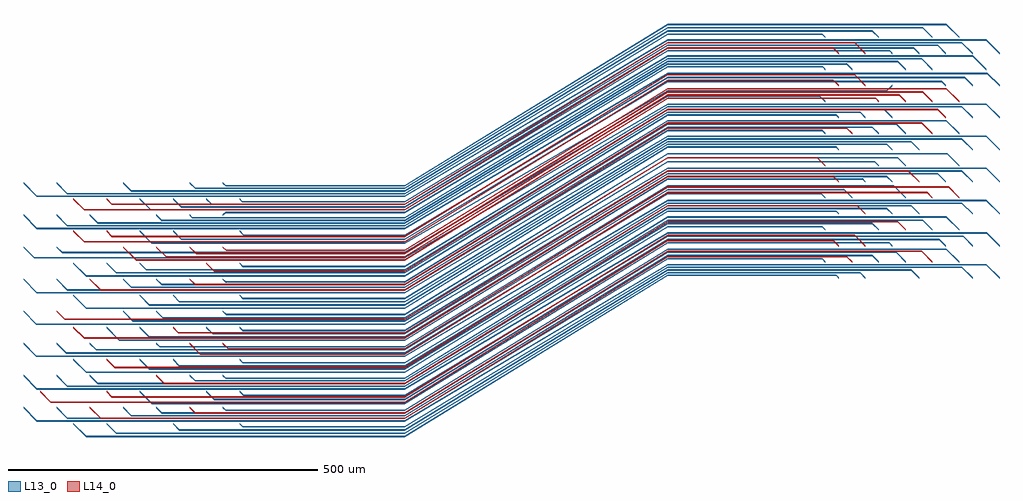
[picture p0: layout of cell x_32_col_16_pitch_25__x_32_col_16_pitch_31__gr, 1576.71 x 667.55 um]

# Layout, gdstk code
import gdstk
lib = gdstk.Library(unit=1e-6, precision=1e-09)
def R(c, l, rs):  # rectangles x0, y0, x1, y1
    for r in rs: c.add(gdstk.rectangle(r[:2], r[2:], *l))
def A(c, l, x, y, w, h, nx, ny, dx, dy):  # array of equal rectangles
    R(c, l, [(x+i*dx, y+j*dy, x+i*dx+w, y+j*dy+h) for i in range(nx) for j in range(ny)])
def P(c, l, *ps):  # polygons
    for p in ps: c.add(gdstk.Polygon(p, *l))
L13_0 = (13, 0)
L14_0 = (14, 0)

x_32_col_16_pitch_25__x_ = lib.new_cell('x_32_col_16_pitch_25__x_32_col_16_pitch_31__gr')
A(x_32_col_16_pitch_25__x_, L13_0, 1360.153, 1466.224, 514.847, 2, 1, 3, 0, 103.68)
A(x_32_col_16_pitch_25__x_, L13_0, 1510.865, 1476.592, 364.135, 2, 1, 3, 0, 103.68)
A(x_32_col_16_pitch_25__x_, L13_0, 1462.352, 1575.088, 412.648, 2, 1, 3, 0, 51.84)
A(x_32_col_16_pitch_25__x_, L13_0, 1613.064, 1585.456, 261.936, 2, 1, 4, 0, 51.84)
A(x_32_col_16_pitch_25__x_, L13_0, 2300, 1726.56, 271.46, 2, 1, 3, 0, 103.68)
A(x_32_col_16_pitch_25__x_, L13_0, 2300, 1735.2, 392.72, 2, 1, 3, 0, 103.68)
A(x_32_col_16_pitch_25__x_, L13_0, 2300, 1805.184, 248.946, 2, 1, 3, 0, 155.52)
A(x_32_col_16_pitch_25__x_, L13_0, 2300, 1810.368, 330.362, 2, 1, 3, 0, 155.52)
A(x_32_col_16_pitch_25__x_, L13_0, 2300, 1820.736, 449.894, 2, 1, 3, 0, 155.52)
A(x_32_col_16_pitch_25__x_, L13_0, 2300, 1834.56, 353.74, 2, 1, 3, 0, 51.84)
A(x_32_col_16_pitch_25__x_, L13_0, 2300, 1843.2, 475, 2, 1, 4, 0, 51.84)
A(x_32_col_16_pitch_25__x_, L13_0, 2300, 1847.52, 513.982, 2, 1, 4, 0, 51.84)
R(x_32_col_16_pitch_25__x_, L13_0, [(1408.662,1471.408,1875,1473.408), (1613.064,1481.776,1875,1483.776), (1280.472,1491.28,1875,1493.28), (1329.85,1495.6,1875,1497.6), (1432.917,1499.92,1875,1501.92), (1482.29,1504.24,1875,1506.24), (1585.36,1508.56,1875,1510.56), (1466.24,1519.36,1875,1521.36), (1567.15,1525.84,1875,1527.84), (1614.36,1532.32,1875,1534.32), (1280.472,1543.12,1875,1545.12), (1329.85,1547.44,1875,1549.44), (1379.22,1551.76,1875,1553.76), (1535.98,1556.08,1875,1558.08), (1585.36,1560.4,1875,1562.4), (1279.608,1595.824,1875,1597.824), (1328.122,1601.008,1875,1603.008), (1376.628,1606.192,1875,1608.192), (1478.834,1611.376,1875,1613.376), (1413.846,1621.744,1875,1623.744), (1564.558,1632.112,1875,1634.112), (1279.608,1647.664,1875,1649.664), (1435.509,1652.848,1875,1654.848), (1484.018,1658.032,1875,1660.032), (1586.224,1663.216,1875,1665.216), (1280.472,1698.64,1875,1700.64), (1329.85,1702.96,1875,1704.96), (1432.917,1707.28,1875,1709.28), (1482.29,1711.6,1875,1713.6), (1585.36,1715.92,1875,1717.92), (1360.153,1725.424,1875,1727.424), (1408.662,1730.608,1875,1732.608), (2300,1730.88,2610.44,1732.88), (1457.168,1735.792,1875,1737.792), (2300,1739.52,2775,1741.52), (2300,1743.84,2813.982,1745.84), (2300,1753.344,2548.946,1755.344), (1276.152,1754.8,1875,1756.8), (2300,1758.528,2630.362,1760.528), (1321.21,1763.44,1875,1765.44), (2300,1763.712,2668.478,1765.712), (2300,1768.896,2749.894,1770.896), (1466.24,1778.56,1875,1780.56), (2300,1779.264,2657.196,1781.264), (2300,1784.448,2738.612,1786.448), (1513.457,1785.04,1875,1787.04), (2300,1789.632,2776.728,1791.632), (1614.36,1791.52,1875,1793.52), (2300,1794.816,2814.846,1796.816), (1280.472,1802.32,1875,1804.32), (1329.85,1806.64,1875,1808.64), (1379.22,1810.96,1875,1812.96), (1482.29,1815.28,1875,1817.28), (2300,1815.552,2711.778,1817.552), (1531.66,1819.6,1875,1821.6), (1585.36,1828.24,1875,1830.24), (1464.08,1832.56,1875,1834.56), (1513.457,1836.88,1875,1838.88), (1562.83,1841.2,1875,1843.2), (1612.2,1845.52,1875,1847.52), (1280.472,1854.16,1875,1856.16), (2300,1858.32,2547.65,1860.32), (1329.85,1858.48,1875,1860.48), (1432.917,1862.8,1875,1864.8), (2300,1864.8,2584.47,1866.8), (1535.98,1867.12,1875,1869.12), (2300,1871.28,2664.59,1873.28), (1585.36,1871.44,1875,1873.44), (2300,1882.08,2614.76,1884.08), (2300,1890.72,2736.02,1892.72), (2300,1910.16,2634.25,1912.16), (2300,1916.64,2671.07,1918.64), (2300,1923.12,2751.19,1925.12), (2300,1971.072,2668.478,1973.072), (2300,1985.76,2571.46,1987.76), (2300,1990.08,2610.44,1992.08), (2300,1994.4,2649.42,1996.4), (2300,2016,2545.49,2018), (2300,2024.64,2653.74,2026.64), (2300,2039.76,2742.5,2041.76), (2300,2046.24,2779.32,2048.24), (2300,2052.72,2816.142,2054.72), (2300,2063.52,2549.81,2065.52), (2300,2067.84,2588.79,2069.84), (2300,2072.16,2671.07,2074.16), (2300,2076.48,2710.05,2078.48), (2300,2080.8,2792.332,2082.8), (2300,2089.44,2658.06,2091.44), (2300,2093.76,2697.04,2095.76), (2300,2098.08,2736.02,2100.08), (2300,2102.4,2775,2104.4), (2300,2106.72,2813.982,2108.72), (2300,2126.592,2711.778,2128.592)])
P(x_32_col_16_pitch_25__x_, L13_0, [(2554.13,2111.04),(2554.13,2113.04),(2548.946,2118.224),(2548.946,2116.224)],
  [(2300,2116.224),(2300,2118.224),(1875,1860.48),(1875,1858.48)],
  [(1329.85,1858.48),(1329.85,1860.48),(1312.57,1877.76),(1312.57,1875.76)],
  [(2640.73,2111.04),(2640.73,2113.04),(2630.362,2123.408),(2630.362,2121.408)],
  [(2300,2121.408),(2300,2123.408),(1875,1864.8),(1875,1862.8)],
  [(1432.917,1862.8),(1432.917,1864.8),(1419.957,1877.76),(1419.957,1875.76)],
  [(2727.33,2111.04),(2727.33,2113.04),(2711.778,2128.592),(2711.778,2126.592)],
  [(2300,2126.592),(2300,2128.592),(1875,1869.12),(1875,1867.12)],
  [(1535.98,1867.12),(1535.98,1869.12),(1527.34,1877.76),(1527.34,1875.76)],
  [(2770.63,2111.04),(2770.63,2113.04),(2749.894,2133.776),(2749.894,2131.776)],
  [(2300,2131.776),(2300,2133.776),(1875,1873.44),(1875,1871.44)],
  [(1585.36,1871.44),(1585.36,1873.44),(1581.04,1877.76),(1581.04,1875.76)],
  [(2662.38,2085.12),(2662.38,2087.12),(2658.06,2091.44),(2658.06,2089.44)],
  [(2300,2089.44),(2300,2091.44),(1875,1834.56),(1875,1832.56)],
  [(1464.08,1832.56),(1464.08,1834.56),(1446.8,1851.84),(1446.8,1849.84)],
  [(2705.68,2085.12),(2705.68,2087.12),(2697.04,2095.76),(2697.04,2093.76)],
  [(2300,2093.76),(2300,2095.76),(1875,1838.88),(1875,1836.88)],
  [(1513.457,1836.88),(1513.457,1838.88),(1500.497,1851.84),(1500.497,1849.84)],
  [(2748.98,2085.12),(2748.98,2087.12),(2736.02,2100.08),(2736.02,2098.08)],
  [(2300,2098.08),(2300,2100.08),(1875,1843.2),(1875,1841.2)],
  [(1562.83,1841.2),(1562.83,1843.2),(1554.19,1851.84),(1554.19,1849.84)],
  [(2792.28,2085.12),(2792.28,2087.12),(2775,2104.4),(2775,2102.4)],
  [(2300,2102.4),(2300,2104.4),(1875,1847.52),(1875,1845.52)],
  [(1612.2,1845.52),(1612.2,1847.52),(1607.88,1851.84),(1607.88,1849.84)],
  [(2835.582,2085.12),(2835.582,2087.12),(2813.982,2108.72),(2813.982,2106.72)],
  [(2300,2106.72),(2300,2108.72),(1875,1856.16),(1875,1854.16)],
  [(1280.472,1854.16),(1280.472,1856.16),(1258.872,1877.76),(1258.872,1875.76)],
  [(2554.13,2059.2),(2554.13,2061.2),(2549.81,2065.52),(2549.81,2063.52)],
  [(2300,2063.52),(2300,2065.52),(1875,1808.64),(1875,1806.64)],
  [(1329.85,1806.64),(1329.85,1808.64),(1312.57,1825.92),(1312.57,1823.92)],
  [(2597.43,2059.2),(2597.43,2061.2),(2588.79,2069.84),(2588.79,2067.84)],
  [(2300,2067.84),(2300,2069.84),(1875,1812.96),(1875,1810.96)],
  [(1379.22,1810.96),(1379.22,1812.96),(1366.26,1825.92),(1366.26,1823.92)],
  [(2684.03,2059.2),(2684.03,2061.2),(2671.07,2074.16),(2671.07,2072.16)],
  [(2300,2072.16),(2300,2074.16),(1875,1817.28),(1875,1815.28)],
  [(1482.29,1815.28),(1482.29,1817.28),(1473.65,1825.92),(1473.65,1823.92)],
  [(2727.33,2059.2),(2727.33,2061.2),(2710.05,2078.48),(2710.05,2076.48)],
  [(2300,2076.48),(2300,2078.48),(1875,1821.6),(1875,1819.6)],
  [(1531.66,1819.6),(1531.66,1821.6),(1527.34,1825.92),(1527.34,1823.92)],
  [(2813.932,2059.2),(2813.932,2061.2),(2792.332,2082.8),(2792.332,2080.8)],
  [(2300,2080.8),(2300,2082.8),(1875,1830.24),(1875,1828.24)],
  [(1585.36,1828.24),(1585.36,1830.24),(1581.04,1825.92),(1581.04,1823.92)],
  [(2662.38,2033.28),(2662.38,2035.28),(2653.74,2026.64),(2653.74,2024.64)],
  [(2300,2024.64),(2300,2026.64),(1875,1780.56),(1875,1778.56)],
  [(1466.24,1778.56),(1466.24,1780.56),(1446.8,1800),(1446.8,1798)],
  [(2748.98,2033.28),(2748.98,2035.28),(2742.5,2041.76),(2742.5,2039.76)],
  [(2300,2039.76),(2300,2041.76),(1875,1787.04),(1875,1785.04)],
  [(1513.457,1785.04),(1513.457,1787.04),(1500.497,1800),(1500.497,1798)],
  [(2792.28,2033.28),(2792.28,2035.28),(2779.32,2048.24),(2779.32,2046.24)],
  [(2300,2046.24),(2300,2048.24),(1875,1793.52),(1875,1791.52)],
  [(1614.36,1791.52),(1614.36,1793.52),(1607.88,1800),(1607.88,1798)],
  [(2835.582,2033.28),(2835.582,2035.28),(2816.142,2054.72),(2816.142,2052.72)],
  [(2300,2052.72),(2300,2054.72),(1875,1804.32),(1875,1802.32)],
  [(1280.472,1802.32),(1280.472,1804.32),(1258.872,1825.92),(1258.872,1823.92)],
  [(2554.13,2007.36),(2554.13,2009.36),(2545.49,2018),(2545.49,2016)],
  [(2300,2016),(2300,2018),(1875,1765.44),(1875,1763.44)],
  [(1321.21,1763.44),(1321.21,1765.44),(1312.57,1774.08),(1312.57,1772.08)],
  [(2575.78,1981.44),(2575.78,1983.44),(2571.46,1987.76),(2571.46,1985.76)],
  [(2300,1985.76),(2300,1987.76),(1875,1727.424),(1875,1725.424)],
  [(1360.153,1725.424),(1360.153,1727.424),(1339.417,1748.16),(1339.417,1746.16)],
  [(2619.08,1981.44),(2619.08,1983.44),(2610.44,1992.08),(2610.44,1990.08)],
  [(2300,1990.08),(2300,1992.08),(1875,1732.608),(1875,1730.608)],
  [(1408.662,1730.608),(1408.662,1732.608),(1393.11,1748.16),(1393.11,1746.16)],
  [(2662.38,1981.44),(2662.38,1983.44),(2649.42,1996.4),(2649.42,1994.4)],
  [(2300,1994.4),(2300,1996.4),(1875,1737.792),(1875,1735.792)],
  [(1457.168,1735.792),(1457.168,1737.792),(1446.8,1748.16),(1446.8,1746.16)],
  [(2792.28,1981.44),(2792.28,1983.44),(2775,2000.72),(2775,1998.72)],
  [(2300,1998.72),(2300,2000.72),(1875,1742.976),(1875,1740.976)],
  [(1613.064,1740.976),(1613.064,1742.976),(1607.88,1748.16),(1607.88,1746.16)],
  [(2835.582,1981.44),(2835.582,1983.44),(2813.982,2005.04),(2813.982,2003.04)],
  [(2300,2003.04),(2300,2005.04),(1875,1756.8),(1875,1754.8)],
  [(1276.152,1754.8),(1276.152,1756.8),(1258.872,1774.08),(1258.872,1772.08)],
  [(2554.13,1955.52),(2554.13,1957.52),(2548.946,1962.704),(2548.946,1960.704)],
  [(2300,1960.704),(2300,1962.704),(1875,1704.96),(1875,1702.96)],
  [(1329.85,1702.96),(1329.85,1704.96),(1312.57,1722.24),(1312.57,1720.24)],
  [(2640.73,1955.52),(2640.73,1957.52),(2630.362,1967.888),(2630.362,1965.888)],
  [(2300,1965.888),(2300,1967.888),(1875,1709.28),(1875,1707.28)],
  [(1432.917,1707.28),(1432.917,1709.28),(1419.957,1722.24),(1419.957,1720.24)],
  [(2684.03,1955.52),(2684.03,1957.52),(2668.478,1973.072),(2668.478,1971.072)],
  [(2300,1971.072),(2300,1973.072),(1875,1713.6),(1875,1711.6)],
  [(1482.29,1711.6),(1482.29,1713.6),(1473.65,1722.24),(1473.65,1720.24)],
  [(2770.63,1955.52),(2770.63,1957.52),(2749.894,1978.256),(2749.894,1976.256)],
  [(2300,1976.256),(2300,1978.256),(1875,1717.92),(1875,1715.92)],
  [(1585.36,1715.92),(1585.36,1717.92),(1581.04,1722.24),(1581.04,1720.24)],
  [(2575.78,1929.6),(2575.78,1931.6),(2571.46,1935.92),(2571.46,1933.92)],
  [(2300,1933.92),(2300,1935.92),(1875,1675.584),(1875,1673.584)],
  [(1360.153,1673.584),(1360.153,1675.584),(1339.417,1696.32),(1339.417,1694.32)],
  [(2662.38,1929.6),(2662.38,1931.6),(2653.74,1940.24),(2653.74,1938.24)],
  [(2300,1938.24),(2300,1940.24),(1875,1680.768),(1875,1678.768)],
  [(1462.352,1678.768),(1462.352,1680.768),(1446.8,1696.32),(1446.8,1694.32)],
  [(2705.68,1929.6),(2705.68,1931.6),(2692.72,1944.56),(2692.72,1942.56)],
  [(2300,1942.56),(2300,1944.56),(1875,1685.952),(1875,1683.952)],
  [(1510.865,1683.952),(1510.865,1685.952),(1500.497,1696.32),(1500.497,1694.32)],
  [(2792.28,1929.6),(2792.28,1931.6),(2775,1948.88),(2775,1946.88)],
  [(2300,1946.88),(2300,1948.88),(1875,1691.136),(1875,1689.136)],
  [(1613.064,1689.136),(1613.064,1691.136),(1607.88,1696.32),(1607.88,1694.32)],
  [(2835.582,1929.6),(2835.582,1931.6),(2813.982,1953.2),(2813.982,1951.2)],
  [(2300,1951.2),(2300,1953.2),(1875,1700.64),(1875,1698.64)],
  [(1280.472,1698.64),(1280.472,1700.64),(1258.872,1722.24),(1258.872,1720.24)],
  [(2640.73,1903.68),(2640.73,1905.68),(2634.25,1912.16),(2634.25,1910.16)],
  [(2300,1910.16),(2300,1912.16),(1875,1654.848),(1875,1652.848)],
  [(1435.509,1652.848),(1435.509,1654.848),(1419.957,1670.4),(1419.957,1668.4)],
  [(2684.03,1903.68),(2684.03,1905.68),(2671.07,1918.64),(2671.07,1916.64)],
  [(2300,1916.64),(2300,1918.64),(1875,1660.032),(1875,1658.032)],
  [(1484.018,1658.032),(1484.018,1660.032),(1473.65,1670.4),(1473.65,1668.4)],
  [(2770.63,1903.68),(2770.63,1905.68),(2751.19,1925.12),(2751.19,1923.12)],
  [(2300,1923.12),(2300,1925.12),(1875,1665.216),(1875,1663.216)],
  [(1586.224,1663.216),(1586.224,1665.216),(1581.04,1670.4),(1581.04,1668.4)],
  [(2619.08,1877.76),(2619.08,1879.76),(2614.76,1884.08),(2614.76,1882.08)],
  [(2300,1882.08),(2300,1884.08),(1875,1623.744),(1875,1621.744)],
  [(1413.846,1621.744),(1413.846,1623.744),(1393.11,1644.48),(1393.11,1642.48)],
  [(2662.38,1877.76),(2662.38,1879.76),(2653.74,1888.4),(2653.74,1886.4)],
  [(2300,1886.4),(2300,1888.4),(1875,1628.928),(1875,1626.928)],
  [(1462.352,1626.928),(1462.352,1628.928),(1446.8,1644.48),(1446.8,1642.48)],
  [(2748.98,1877.76),(2748.98,1879.76),(2736.02,1892.72),(2736.02,1890.72)],
  [(2300,1890.72),(2300,1892.72),(1875,1634.112),(1875,1632.112)],
  [(1564.558,1632.112),(1564.558,1634.112),(1554.19,1644.48),(1554.19,1642.48)],
  [(2792.28,1877.76),(2792.28,1879.76),(2775,1897.04),(2775,1895.04)],
  [(2300,1895.04),(2300,1897.04),(1875,1639.296),(1875,1637.296)],
  [(1613.064,1637.296),(1613.064,1639.296),(1607.88,1644.48),(1607.88,1642.48)],
  [(2835.582,1877.76),(2835.582,1879.76),(2813.982,1901.36),(2813.982,1899.36)],
  [(2300,1899.36),(2300,1901.36),(1875,1649.664),(1875,1647.664)],
  [(1279.608,1647.664),(1279.608,1649.664),(1258.872,1670.4),(1258.872,1668.4)],
  [(2554.13,1851.84),(2554.13,1853.84),(2547.65,1860.32),(2547.65,1858.32)],
  [(2300,1858.32),(2300,1860.32),(1875,1603.008),(1875,1601.008)],
  [(1328.122,1601.008),(1328.122,1603.008),(1312.57,1618.56),(1312.57,1616.56)],
  [(2597.43,1851.84),(2597.43,1853.84),(2584.47,1866.8),(2584.47,1864.8)],
  [(2300,1864.8),(2300,1866.8),(1875,1608.192),(1875,1606.192)],
  [(1376.628,1606.192),(1376.628,1608.192),(1366.26,1618.56),(1366.26,1616.56)],
  [(2684.03,1851.84),(2684.03,1853.84),(2664.59,1873.28),(2664.59,1871.28)],
  [(2300,1871.28),(2300,1873.28),(1875,1613.376),(1875,1611.376)],
  [(1478.834,1611.376),(1478.834,1613.376),(1473.65,1618.56),(1473.65,1616.56)],
  [(2575.78,1825.92),(2575.78,1827.92),(2571.46,1832.24),(2571.46,1830.24)],
  [(2300,1830.24),(2300,1832.24),(1875,1571.904),(1875,1569.904)],
  [(1360.153,1569.904),(1360.153,1571.904),(1339.417,1592.64),(1339.417,1590.64)],
  [(2662.38,1825.92),(2662.38,1827.92),(2653.74,1836.56),(2653.74,1834.56)],
  [(2300,1834.56),(2300,1836.56),(1875,1577.088),(1875,1575.088)],
  [(1462.352,1575.088),(1462.352,1577.088),(1446.8,1592.64),(1446.8,1590.64)],
  [(2705.68,1825.92),(2705.68,1827.92),(2692.72,1840.88),(2692.72,1838.88)],
  [(2300,1838.88),(2300,1840.88),(1875,1582.272),(1875,1580.272)],
  [(1510.865,1580.272),(1510.865,1582.272),(1500.497,1592.64),(1500.497,1590.64)],
  [(2792.28,1825.92),(2792.28,1827.92),(2775,1845.2),(2775,1843.2)],
  [(2300,1843.2),(2300,1845.2),(1875,1587.456),(1875,1585.456)],
  [(1613.064,1585.456),(1613.064,1587.456),(1607.88,1592.64),(1607.88,1590.64)],
  [(2835.582,1825.92),(2835.582,1827.92),(2813.982,1849.52),(2813.982,1847.52)],
  [(2300,1847.52),(2300,1849.52),(1875,1597.824),(1875,1595.824)],
  [(1279.608,1595.824),(1279.608,1597.824),(1258.872,1618.56),(1258.872,1616.56)],
  [(2554.13,1800),(2554.13,1802),(2548.946,1807.184),(2548.946,1805.184)],
  [(2300,1805.184),(2300,1807.184),(1875,1549.44),(1875,1547.44)],
  [(1329.85,1547.44),(1329.85,1549.44),(1312.57,1566.72),(1312.57,1564.72)],
  [(2640.73,1800),(2640.73,1802),(2630.362,1812.368),(2630.362,1810.368)],
  [(2300,1810.368),(2300,1812.368),(1875,1553.76),(1875,1551.76)],
  [(1379.22,1551.76),(1379.22,1553.76),(1366.26,1566.72),(1366.26,1564.72)],
  [(2727.33,1800),(2727.33,1802),(2711.778,1817.552),(2711.778,1815.552)],
  [(2300,1815.552),(2300,1817.552),(1875,1558.08),(1875,1556.08)],
  [(1535.98,1556.08),(1535.98,1558.08),(1527.34,1566.72),(1527.34,1564.72)],
  [(2770.63,1800),(2770.63,1802),(2749.894,1822.736),(2749.894,1820.736)],
  [(2300,1820.736),(2300,1822.736),(1875,1562.4),(1875,1560.4)],
  [(1585.36,1560.4),(1585.36,1562.4),(1581.04,1566.72),(1581.04,1564.72)],
  [(2662.38,1774.08),(2662.38,1776.08),(2657.196,1781.264),(2657.196,1779.264)],
  [(2300,1779.264),(2300,1781.264),(1875,1521.36),(1875,1519.36)],
  [(1466.24,1519.36),(1466.24,1521.36),(1446.8,1540.8),(1446.8,1538.8)],
  [(2748.98,1774.08),(2748.98,1776.08),(2738.612,1786.448),(2738.612,1784.448)],
  [(2300,1784.448),(2300,1786.448),(1875,1527.84),(1875,1525.84)],
  [(1567.15,1525.84),(1567.15,1527.84),(1554.19,1540.8),(1554.19,1538.8)],
  [(2792.28,1774.08),(2792.28,1776.08),(2776.728,1791.632),(2776.728,1789.632)],
  [(2300,1789.632),(2300,1791.632),(1875,1534.32),(1875,1532.32)],
  [(1614.36,1532.32),(1614.36,1534.32),(1607.88,1540.8),(1607.88,1538.8)],
  [(2835.582,1774.08),(2835.582,1776.08),(2814.846,1796.816),(2814.846,1794.816)],
  [(2300,1794.816),(2300,1796.816),(1875,1545.12),(1875,1543.12)],
  [(1280.472,1543.12),(1280.472,1545.12),(1258.872,1566.72),(1258.872,1564.72)],
  [(2554.13,1748.16),(2554.13,1750.16),(2548.946,1755.344),(2548.946,1753.344)],
  [(2300,1753.344),(2300,1755.344),(1875,1497.6),(1875,1495.6)],
  [(1329.85,1495.6),(1329.85,1497.6),(1312.57,1514.88),(1312.57,1512.88)],
  [(2640.73,1748.16),(2640.73,1750.16),(2630.362,1760.528),(2630.362,1758.528)],
  [(2300,1758.528),(2300,1760.528),(1875,1501.92),(1875,1499.92)],
  [(1432.917,1499.92),(1432.917,1501.92),(1419.957,1514.88),(1419.957,1512.88)],
  [(2684.03,1748.16),(2684.03,1750.16),(2668.478,1765.712),(2668.478,1763.712)],
  [(2300,1763.712),(2300,1765.712),(1875,1506.24),(1875,1504.24)],
  [(1482.29,1504.24),(1482.29,1506.24),(1473.65,1514.88),(1473.65,1512.88)],
  [(2770.63,1748.16),(2770.63,1750.16),(2749.894,1770.896),(2749.894,1768.896)],
  [(2300,1768.896),(2300,1770.896),(1875,1510.56),(1875,1508.56)],
  [(1585.36,1508.56),(1585.36,1510.56),(1581.04,1514.88),(1581.04,1512.88)],
  [(2575.78,1722.24),(2575.78,1724.24),(2571.46,1728.56),(2571.46,1726.56)],
  [(2300,1726.56),(2300,1728.56),(1875,1468.224),(1875,1466.224)],
  [(1360.153,1466.224),(1360.153,1468.224),(1339.417,1488.96),(1339.417,1486.96)],
  [(2619.08,1722.24),(2619.08,1724.24),(2610.44,1732.88),(2610.44,1730.88)],
  [(2300,1730.88),(2300,1732.88),(1875,1473.408),(1875,1471.408)],
  [(1408.662,1471.408),(1408.662,1473.408),(1393.11,1488.96),(1393.11,1486.96)],
  [(2705.68,1722.24),(2705.68,1724.24),(2692.72,1737.2),(2692.72,1735.2)],
  [(2300,1735.2),(2300,1737.2),(1875,1478.592),(1875,1476.592)],
  [(1510.865,1476.592),(1510.865,1478.592),(1500.497,1488.96),(1500.497,1486.96)],
  [(2792.28,1722.24),(2792.28,1724.24),(2775,1741.52),(2775,1739.52)],
  [(2300,1739.52),(2300,1741.52),(1875,1483.776),(1875,1481.776)],
  [(1613.064,1481.776),(1613.064,1483.776),(1607.88,1488.96),(1607.88,1486.96)],
  [(2835.582,1722.24),(2835.582,1724.24),(2813.982,1745.84),(2813.982,1743.84)],
  [(2300,1743.84),(2300,1745.84),(1875,1493.28),(1875,1491.28)],
  [(1280.472,1491.28),(1280.472,1493.28),(1258.872,1514.88),(1258.872,1512.88)])
R(x_32_col_16_pitch_25__x_, L14_0, [(1383.54,1495.6,1875,1497.6), (1535.98,1504.24,1875,1506.24), (1303,1521.52,1875,1523.52), (1401.75,1530.16,1875,1532.16), (1486.61,1551.76,1875,1553.76), (1406.07,1577.68,1875,1579.68), (1544.62,1599.28,1875,1601.28), (1589.68,1607.92,1875,1609.92), (1356.697,1625.2,1875,1627.2), (1509.137,1633.84,1875,1635.84), (1325.53,1655.44,1875,1657.44), (1383.54,1702.96,1875,1704.96), (1535.98,1711.6,1875,1713.6), (1567.15,1733.2,1875,1735.2), (1440.693,1751.344,1875,1753.344), (1489.202,1756.528,1875,1758.528), (2300,1756.8,2588.79,1758.8), (1537.708,1761.712,1875,1763.712), (2300,1765.44,2710.05,1767.44), (1586.224,1766.896,1875,1768.896), (1356.697,1780.72,1875,1782.72), (2300,1782.72,2567.14,1784.72), (1401.75,1789.36,1875,1791.36), (2300,1791.36,2601.8,1793.36), (2300,1812.96,2671.07,1814.96), (1356.697,1832.56,1875,1834.56), (2300,1838.88,2606.12,1840.88), (1401.75,1841.2,1875,1843.2), (2300,1860.48,2718.69,1862.48), (2300,1869.12,2753.35,1871.12), (2300,1886.4,2567.14,1888.4), (2300,1895.04,2688.4,1897.04), (2300,1916.64,2541.17,1918.64), (2300,1964.16,2588.79,1966.16), (2300,1972.8,2710.05,1974.8), (2300,1994.4,2736.02,1996.4), (2300,2012.544,2635.546,2014.544), (2300,2017.728,2673.662,2019.728), (2300,2022.912,2711.778,2024.912), (2300,2028.096,2749.894,2030.096), (2300,2041.92,2567.14,2043.92), (2300,2050.56,2601.8,2052.56), (2300,2093.76,2567.14,2095.76), (2300,2102.4,2601.8,2104.4)])
P(x_32_col_16_pitch_25__x_, L14_0, [(2575.78,2085.12),(2575.78,2087.12),(2567.14,2095.76),(2567.14,2093.76)],
  [(2300,2093.76),(2300,2095.76),(1875,1834.56),(1875,1832.56)],
  [(1356.697,1832.56),(1356.697,1834.56),(1339.417,1851.84),(1339.417,1849.84)],
  [(2619.08,2085.12),(2619.08,2087.12),(2601.8,2104.4),(2601.8,2102.4)],
  [(2300,2102.4),(2300,2104.4),(1875,1843.2),(1875,1841.2)],
  [(1401.75,1841.2),(1401.75,1843.2),(1393.11,1851.84),(1393.11,1849.84)],
  [(2575.78,2033.28),(2575.78,2035.28),(2567.14,2043.92),(2567.14,2041.92)],
  [(2300,2041.92),(2300,2043.92),(1875,1782.72),(1875,1780.72)],
  [(1356.697,1780.72),(1356.697,1782.72),(1339.417,1800),(1339.417,1798)],
  [(2619.08,2033.28),(2619.08,2035.28),(2601.8,2052.56),(2601.8,2050.56)],
  [(2300,2050.56),(2300,2052.56),(1875,1791.36),(1875,1789.36)],
  [(1401.75,1789.36),(1401.75,1791.36),(1393.11,1800),(1393.11,1798)],
  [(2640.73,2007.36),(2640.73,2009.36),(2635.546,2014.544),(2635.546,2012.544)],
  [(2300,2012.544),(2300,2014.544),(1875,1753.344),(1875,1751.344)],
  [(1440.693,1751.344),(1440.693,1753.344),(1419.957,1774.08),(1419.957,1772.08)],
  [(2684.03,2007.36),(2684.03,2009.36),(2673.662,2019.728),(2673.662,2017.728)],
  [(2300,2017.728),(2300,2019.728),(1875,1758.528),(1875,1756.528)],
  [(1489.202,1756.528),(1489.202,1758.528),(1473.65,1774.08),(1473.65,1772.08)],
  [(2727.33,2007.36),(2727.33,2009.36),(2711.778,2024.912),(2711.778,2022.912)],
  [(2300,2022.912),(2300,2024.912),(1875,1763.712),(1875,1761.712)],
  [(1537.708,1761.712),(1537.708,1763.712),(1527.34,1774.08),(1527.34,1772.08)],
  [(2770.63,2007.36),(2770.63,2009.36),(2749.894,2030.096),(2749.894,2028.096)],
  [(2300,2028.096),(2300,2030.096),(1875,1768.896),(1875,1766.896)],
  [(1586.224,1766.896),(1586.224,1768.896),(1581.04,1774.08),(1581.04,1772.08)],
  [(2748.98,1981.44),(2748.98,1983.44),(2736.02,1996.4),(2736.02,1994.4)],
  [(2300,1994.4),(2300,1996.4),(1875,1735.2),(1875,1733.2)],
  [(1567.15,1733.2),(1567.15,1735.2),(1554.19,1748.16),(1554.19,1746.16)],
  [(2597.43,1955.52),(2597.43,1957.52),(2588.79,1966.16),(2588.79,1964.16)],
  [(2300,1964.16),(2300,1966.16),(1875,1704.96),(1875,1702.96)],
  [(1383.54,1702.96),(1383.54,1704.96),(1366.26,1722.24),(1366.26,1720.24)],
  [(2727.33,1955.52),(2727.33,1957.52),(2710.05,1974.8),(2710.05,1972.8)],
  [(2300,1972.8),(2300,1974.8),(1875,1713.6),(1875,1711.6)],
  [(1535.98,1711.6),(1535.98,1713.6),(1527.34,1722.24),(1527.34,1720.24)],
  [(2554.13,1903.68),(2554.13,1905.68),(2541.17,1918.64),(2541.17,1916.64)],
  [(2300,1916.64),(2300,1918.64),(1875,1657.44),(1875,1655.44)],
  [(1325.53,1655.44),(1325.53,1657.44),(1312.57,1670.4),(1312.57,1668.4)],
  [(2575.78,1877.76),(2575.78,1879.76),(2567.14,1888.4),(2567.14,1886.4)],
  [(2300,1886.4),(2300,1888.4),(1875,1627.2),(1875,1625.2)],
  [(1356.697,1625.2),(1356.697,1627.2),(1339.417,1644.48),(1339.417,1642.48)],
  [(2705.68,1877.76),(2705.68,1879.76),(2688.4,1897.04),(2688.4,1895.04)],
  [(2300,1895.04),(2300,1897.04),(1875,1635.84),(1875,1633.84)],
  [(1509.137,1633.84),(1509.137,1635.84),(1500.497,1644.48),(1500.497,1642.48)],
  [(2727.33,1851.84),(2727.33,1853.84),(2718.69,1862.48),(2718.69,1860.48)],
  [(2300,1860.48),(2300,1862.48),(1875,1601.28),(1875,1599.28)],
  [(1544.62,1599.28),(1544.62,1601.28),(1527.34,1618.56),(1527.34,1616.56)],
  [(2770.63,1851.84),(2770.63,1853.84),(2753.35,1871.12),(2753.35,1869.12)],
  [(2300,1869.12),(2300,1871.12),(1875,1609.92),(1875,1607.92)],
  [(1589.68,1607.92),(1589.68,1609.92),(1581.04,1618.56),(1581.04,1616.56)],
  [(2619.08,1825.92),(2619.08,1827.92),(2606.12,1840.88),(2606.12,1838.88)],
  [(2300,1838.88),(2300,1840.88),(1875,1579.68),(1875,1577.68)],
  [(1406.07,1577.68),(1406.07,1579.68),(1393.11,1592.64),(1393.11,1590.64)],
  [(2684.03,1800),(2684.03,1802),(2671.07,1814.96),(2671.07,1812.96)],
  [(2300,1812.96),(2300,1814.96),(1875,1553.76),(1875,1551.76)],
  [(1486.61,1551.76),(1486.61,1553.76),(1473.65,1566.72),(1473.65,1564.72)],
  [(2575.78,1774.08),(2575.78,1776.08),(2567.14,1784.72),(2567.14,1782.72)],
  [(2300,1782.72),(2300,1784.72),(1875,1523.52),(1875,1521.52)],
  [(1303,1521.52),(1303,1523.52),(1285.72,1540.8),(1285.72,1538.8)],
  [(2619.08,1774.08),(2619.08,1776.08),(2601.8,1793.36),(2601.8,1791.36)],
  [(2300,1791.36),(2300,1793.36),(1875,1532.16),(1875,1530.16)],
  [(1401.75,1530.16),(1401.75,1532.16),(1393.11,1540.8),(1393.11,1538.8)],
  [(2597.43,1748.16),(2597.43,1750.16),(2588.79,1758.8),(2588.79,1756.8)],
  [(2300,1756.8),(2300,1758.8),(1875,1497.6),(1875,1495.6)],
  [(1383.54,1495.6),(1383.54,1497.6),(1366.26,1514.88),(1366.26,1512.88)],
  [(2727.33,1748.16),(2727.33,1750.16),(2710.05,1767.44),(2710.05,1765.44)],
  [(2300,1765.44),(2300,1767.44),(1875,1506.24),(1875,1504.24)],
  [(1535.98,1504.24),(1535.98,1506.24),(1527.34,1514.88),(1527.34,1512.88)])

lib.write_gds('x_32_col_16_pitch_25__x_32_col_16_pitch_31__gr.gds')
